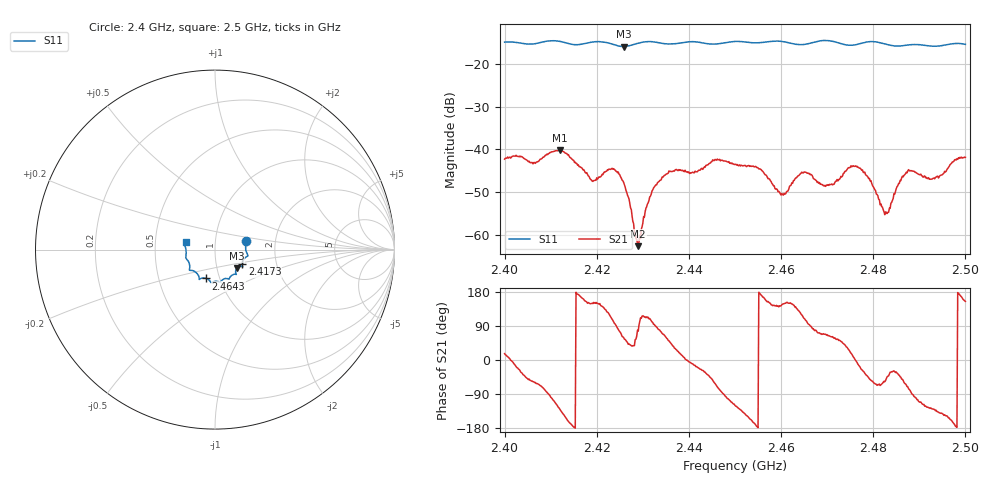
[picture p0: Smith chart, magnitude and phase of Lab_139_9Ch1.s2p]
# Hz S RI R
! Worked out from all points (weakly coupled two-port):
!   601 points, 2.4 GHz to 2.5 GHz, reference 50 ohm
!   highest |S21| = -40.23 dB at 2.412 GHz (marker M1); lowest = -62.7 dB at 2.429 GHz (marker M2)
!   lowest |S11| = -15.9 dB at 2.4258 GHz (marker M3), VSWR 1.38, Z = 62.3 - j13.2 ohm
!   |S11| at or under -10 dB: start of sweep to end of sweep
!   S12 and S22 are empty: the file has one direction only
!   S11 on the Smith chart (normalised r, x): 2.4 GHz: 1.41, +0.14; 2.4173 GHz: 1.34, -0.23; 2.4643 GHz: 0.86, -0.28; 2.5 GHz: 0.72, +0.06
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2.4e9  0.1732 0.0492  0.00736 0.00221  0 0  0 0
2.412e9  0.1799 -0.0374  -0.00628 -0.00744  0 0  0 0
2.416667e9  0.1527 -0.0744  -0.00589 0.00161  0 0  0 0
2.417333e9  0.1521 -0.0817  -0.00513 0.00222  0 0  0 0
2.419333e9  0.1536 -0.0958  -0.0038 0.00203  0 0  0 0
2.4235e9  0.1413 -0.0938  -0.00147 0.00566  0 0  0 0
2.425833e9  0.1216 -0.1036  0.0021 0.00353  0 0  0 0
2.429e9  0.1158 -0.1312  0.000176 0.000714  0 0  0 0
2.431167e9  0.1192 -0.1383  -0.000922 0.00219  0 0  0 0
2.433333e9  0.113 -0.137  0.000637 0.0041  0 0  0 0
2.445667e9  0.0505 -0.1631  0.00359 -0.00672  0 0  0 0
2.45e9  0.0294 -0.1809  -0.00334 -0.00577  0 0  0 0
2.455333e9  -0.00111 -0.1771  -0.0059 0.000392  0 0  0 0
2.460333e9  -0.0242 -0.1812  -0.0025 0.00158  0 0  0 0
2.464333e9  -0.0499 -0.1605  -0.00271 0.00451  0 0  0 0
2.466667e9  -0.0758 -0.1597  0.000362 0.005  0 0  0 0
2.470833e9  -0.0872 -0.1639  0.00185 0.0034  0 0  0 0
2.476667e9  -0.1231 -0.1173  0.00605 -0.00118  0 0  0 0
2.483333e9  -0.1409 -0.0898  0.00137 -0.00122  0 0  0 0
2.4875e9  -0.1576 -0.0533  0.00184 -0.00529  0 0  0 0
2.492833e9  -0.1606 -0.0157  -0.00286 -0.00349  0 0  0 0
2.5e9  -0.1642 0.0422  -0.00728 0.00345  0 0  0 0
